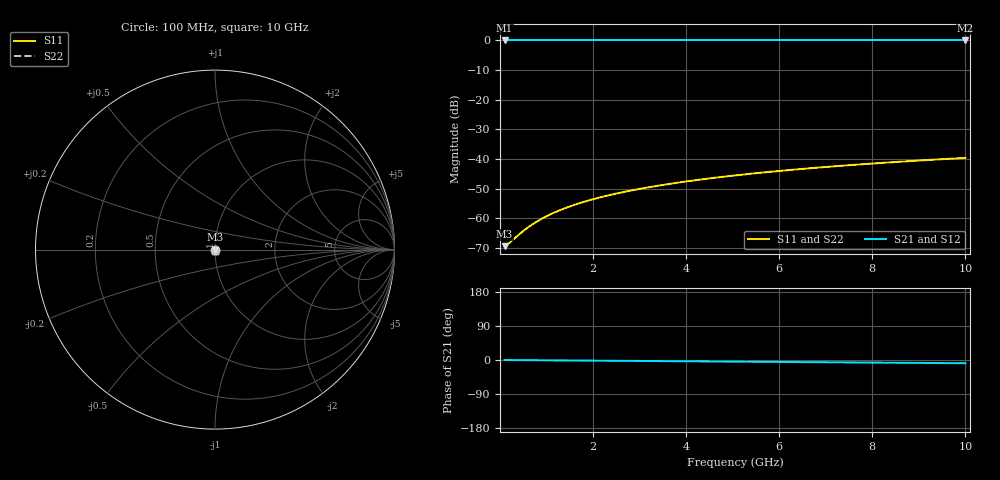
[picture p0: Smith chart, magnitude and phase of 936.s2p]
# Hz S RI R 50.00
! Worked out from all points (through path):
!   100 points, 100 MHz to 10 GHz, reference 50 ohm
!   highest |S21| = 0.00 dB at 100 MHz (marker M1); lowest = 0.0 dB at 10 GHz (marker M2)
!   group delay of S21, straight-line fit = 2.37 ps
!   lowest |S11| = -69.4 dB at 100 MHz (marker M3), VSWR 1.00, Z = 50 - j0.0104 ohm
!   |S11| at or under -10 dB: start of sweep to end of sweep
!   |S22| runs from -69.4 to -39.6 dB; largest |S21 - S12| = 0
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1e8  0.000323 -0.000104  0.9997 -0.00147  0.9997 -0.00147  0.000323 -0.000104
2e8  0.000324 -0.000207  0.9997 -0.00294  0.9997 -0.00294  0.000324 -0.000207
4e8  0.000323 -0.000415  0.9996 -0.00589  0.9996 -0.00589  0.000323 -0.000415
5e8  0.000322 -0.000518  0.9996 -0.00736  0.9996 -0.00736  0.000322 -0.000518
6e8  0.000321 -0.000622  0.9996 -0.00883  0.9996 -0.00883  0.000321 -0.000622
7e8  0.000319 -0.000726  0.9996 -0.0103  0.9996 -0.0103  0.000319 -0.000726
9e8  0.000314 -0.000934  0.9996 -0.0133  0.9996 -0.0133  0.000314 -0.000934
1.1e9  0.000308 -0.00114  0.9995 -0.0162  0.9995 -0.0162  0.000308 -0.00114
1.3e9  0.000301 -0.00135  0.9995 -0.0191  0.9995 -0.0191  0.000301 -0.00135
1.5e9  0.000292 -0.00156  0.9994 -0.0221  0.9994 -0.0221  0.000292 -0.00156
1.8e9  0.000276 -0.00187  0.9993 -0.0265  0.9993 -0.0265  0.000276 -0.00187
2.1e9  0.000258 -0.00219  0.9992 -0.0309  0.9992 -0.0309  0.000258 -0.00219
2.5e9  0.000228 -0.0026  0.999 -0.0368  0.999 -0.0368  0.000228 -0.0026
2.9e9  0.000194 -0.00302  0.9987 -0.0427  0.9987 -0.0427  0.000194 -0.00302
3.4e9  0.000144 -0.00355  0.9984 -0.0501  0.9984 -0.0501  0.000144 -0.00355
4.2e9  4.68e-05 -0.00439  0.9977 -0.062  0.9977 -0.062  4.68e-05 -0.00439
5.1e9  -8.65e-05 -0.00534  0.9968 -0.0753  0.9968 -0.0753  -8.65e-05 -0.00534
5.9e9  -0.000226 -0.00618  0.9958 -0.0871  0.9958 -0.0871  -0.000226 -0.00618
6.7e9  -0.000386 -0.00702  0.9946 -0.099  0.9946 -0.099  -0.000386 -0.00702
7.5e9  -0.000566 -0.00785  0.9934 -0.1109  0.9934 -0.1109  -0.000566 -0.00785
8.4e9  -0.000792 -0.00877  0.9918 -0.1243  0.9918 -0.1243  -0.000792 -0.00877
1e10  -0.00125 -0.0104  0.9885 -0.1481  0.9885 -0.1481  -0.00125 -0.0104
